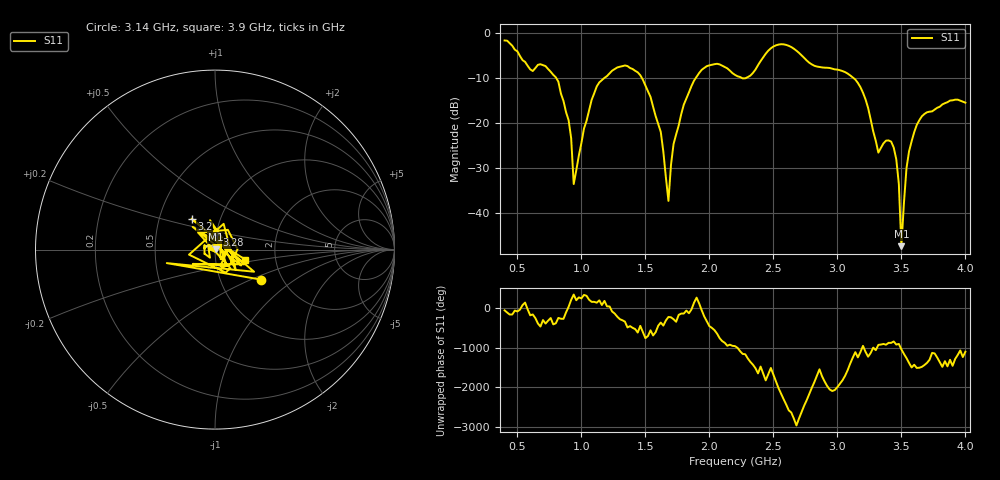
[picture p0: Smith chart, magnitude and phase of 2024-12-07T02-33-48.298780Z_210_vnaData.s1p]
!Created with skrf (http://scikit-rf.org).
# Hz S RI R 50.0
!freq ReS11 ImS11
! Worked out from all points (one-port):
!   181 points, 400 MHz to 4 GHz, reference 50 ohm
!   lowest |S11| = -47.5 dB at 3.5 GHz (marker M1), VSWR 1.01, Z = 50.3 + j0.258 ohm
!   |S11| at or under -10 dB: 803.4 MHz to 1.178 GHz (375.1 MHz wide, 37.8 % of centre); 1.473 GHz to 1.893 GHz (420.5 MHz wide, 25 % of centre); 3.126 GHz to end of sweep (the widest 3 of 4)
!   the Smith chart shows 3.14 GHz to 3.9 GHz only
!   S11 on the Smith chart (normalised r, x): 3.14 GHz: 1.56, -0.57; 3.2 GHz: 0.73, +0.26; 3.28 GHz: 1.01, +0.16; 3.9 GHz: 1.40, -0.16
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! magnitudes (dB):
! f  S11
! 400 MHz  -1.6
! 720 MHz  -7.3
! 860 MHz  -15.1
! 920 MHz  -23.4
! 940 MHz  -33.6
! 1.12 GHz  -11.9
! 1.3 GHz  -7.5
! 1.54 GHz  -14.2
! 1.62 GHz  -22.0
! 1.68 GHz  -37.4
! 1.72 GHz  -24.7
! 1.76 GHz  -20.6
! 1.94 GHz  -8.2
! 2.2 GHz  -9.3
! 2.66 GHz  -3.5
! 3.1 GHz  -9.4
! 3.14 GHz  -10.3
! 3.2 GHz  -13.3
! 3.28 GHz  -21.9
! 3.32 GHz  -26.6
! 3.44 GHz  -25.5
! 3.48 GHz  -33.6
! 3.5 GHz  -47.5
! 3.54 GHz  -30.0
! 3.56 GHz  -26.3
! 3.66 GHz  -18.5
! 3.9 GHz  -15.0
! 4 GHz  -15.5
